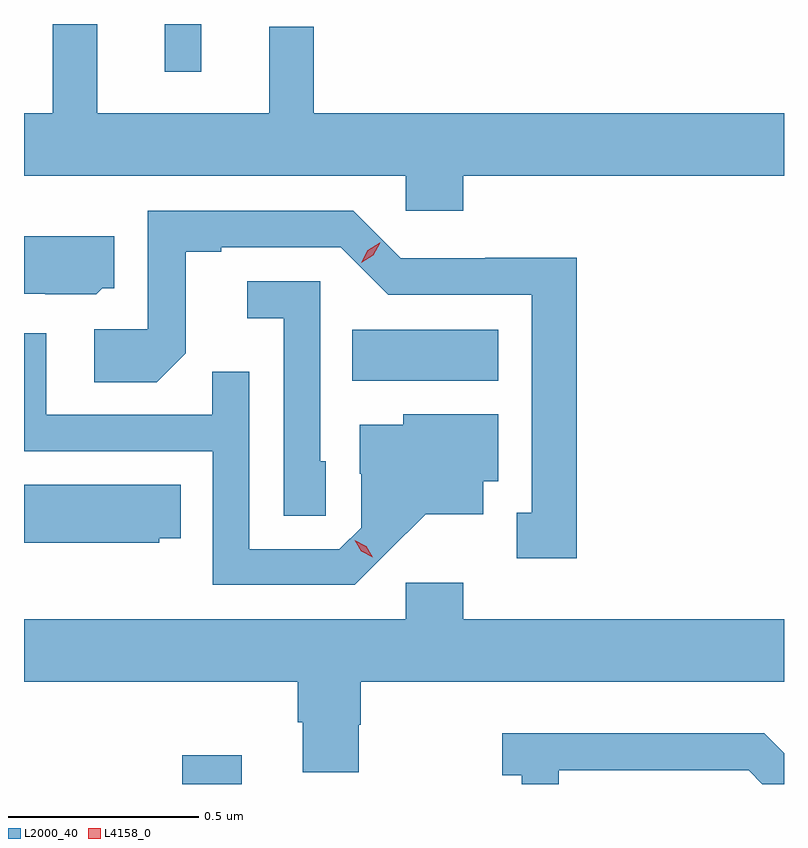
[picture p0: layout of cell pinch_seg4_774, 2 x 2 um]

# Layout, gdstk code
import gdstk
lib = gdstk.Library(unit=1e-6, precision=1e-09)
def R(c, l, rs):  # rectangles x0, y0, x1, y1
    for r in rs: c.add(gdstk.rectangle(r[:2], r[2:], *l))
def P(c, l, *ps):  # polygons
    for p in ps: c.add(gdstk.Polygon(p, *l))
L2000_40 = (2000, 40)
L4158_0 = (4158, 0)

pinch_seg4_774 = lib.new_cell('pinch_seg4_774')
R(pinch_seg4_774, L2000_40, [(778.723,817.863,778.879,817.939), (779.17,818.924,779.554,819.058), (778.676,819.738,778.773,819.863)])
P(pinch_seg4_774, L2000_40, [(779.462,819.464),(780.306,819.464),(780.306,819.628),(779.069,819.628),(779.069,819.856),(778.952,819.856),(778.952,819.628),(778.499,819.628),(778.499,819.862),(778.381,819.862),(778.381,819.628),(778.306,819.628),(778.306,819.464),(779.31,819.464),(779.31,819.371),(779.462,819.371)],
  [(779.761,819.248),(779.52,819.248),(779.52,819.246),(779.298,819.246),(779.172,819.372),(778.632,819.372),(778.632,819.06),(778.491,819.06),(778.491,818.92),(778.655,818.92),(778.731,818.996),(778.731,819.264),(778.825,819.264),(778.825,819.276),(779.139,819.276),(779.265,819.15),(779.642,819.15),(779.642,818.577),(779.603,818.577),(779.603,818.457),(779.761,818.457)],
  [(778.512,819.168),(778.543,819.168),(778.543,819.304),(778.306,819.304),(778.306,819.153),(778.362,819.153),(778.362,819.152),(778.496,819.152)],
  [(779.1,818.712),(779.085,818.712),(779.085,819.186),(778.893,819.186),(778.893,819.089),(778.989,819.089),(778.989,818.569),(779.1,818.569)],
  [(779.26,818.471),(779.363,818.573),(779.515,818.573),(779.515,818.66),(779.554,818.66),(779.554,818.836),(779.304,818.836),(779.304,818.809),(779.189,818.809),(779.189,818.68),(779.193,818.68),(779.193,818.538),(779.136,818.481),(778.899,818.481),(778.899,818.948),(778.801,818.948),(778.801,818.835),(778.365,818.835),(778.365,819.049),(778.306,819.049),(778.306,818.739),(778.803,818.739),(778.803,818.388),(779.176,818.388)],
  [(778.662,818.51),(778.718,818.51),(778.718,818.65),(778.306,818.65),(778.306,818.498),(778.662,818.498)],
  [(779.187,818.019),(779.192,818.019),(779.192,818.132),(780.306,818.132),(780.306,818.296),(779.462,818.296),(779.462,818.392),(779.31,818.392),(779.31,818.296),(778.306,818.296),(778.306,818.132),(779.027,818.132),(779.027,818.026),(779.039,818.026),(779.039,817.894),(779.187,817.894)],
  [(779.713,817.899),(780.213,817.899),(780.249,817.863),(780.306,817.863),(780.306,817.944),(780.254,817.996),(779.565,817.996),(779.565,817.886),(779.616,817.886),(779.616,817.863),(779.713,817.863)])
P(pinch_seg4_774, L4158_0, [(779.193,819.235),(779.193,819.235),(779.211,819.268),(779.242,819.287),(779.243,819.287),(779.243,819.287),(779.225,819.254),(779.193,819.235)],
  [(779.224,818.46),(779.193,818.475),(779.176,818.504),(779.176,818.504),(779.176,818.504),(779.207,818.489),(779.224,818.46),(779.224,818.46)])

lib.write_gds('pinch_seg4_774.gds')
